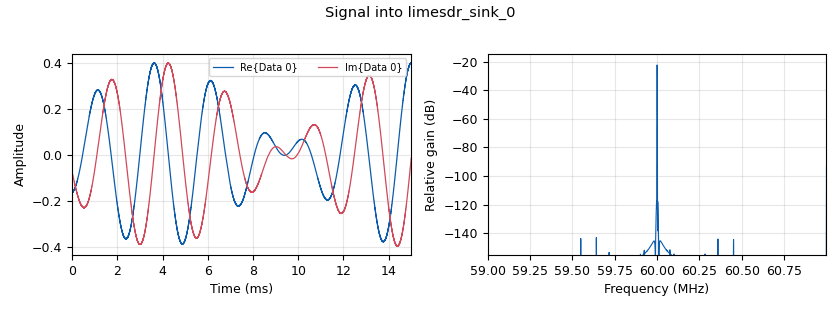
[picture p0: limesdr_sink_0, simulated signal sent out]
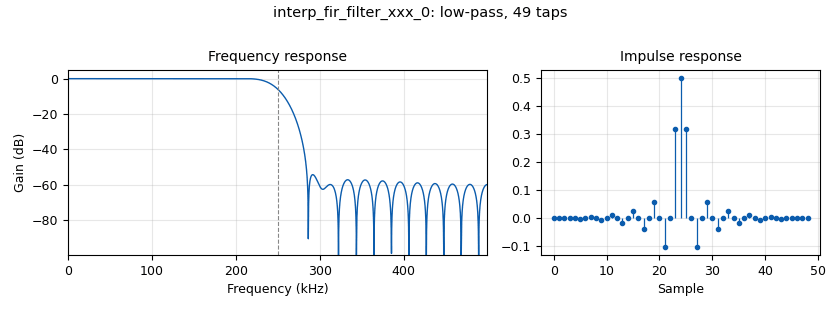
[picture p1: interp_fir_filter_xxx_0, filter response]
<?xml version='1.0' encoding='utf-8'?>
<?grc format='1' created='3.7.12'?>
<flow_graph>
<block>
<key>options</key>
<param><key>id</key><value>tx_lime</value></param>
<param><key>category</key><value>Custom</value></param>
<param><key>generate_options</key><value>wx_gui</value></param>
</block>
<block>
<key>variable_slider</key>
<param><key>id</key><value>bb_gain_slider</value></param>
<param><key>converver</key><value>int_converter</value></param>
<param><key>value</key><value>20</value></param>
<param><key>label</key><value>BB Gain</value></param>
<param><key>max</key><value>100</value></param>
<param><key>min</key><value>0</value></param>
<param><key>num_steps</key><value>100</value></param>
<param><key>style</key><value>wx.SL_HORIZONTAL</value></param>
</block>
<block>
<key>variable</key>
<param><key>id</key><value>center_freq</value></param>
<param><key>value</key><value>60e6</value></param>
</block>
<block>
<key>variable_slider</key>
<param><key>id</key><value>if_gain_slider</value></param>
<param><key>converver</key><value>int_converter</value></param>
<param><key>value</key><value>20</value></param>
<param><key>label</key><value>IF Gain</value></param>
<param><key>max</key><value>100</value></param>
<param><key>min</key><value>0</value></param>
<param><key>num_steps</key><value>100</value></param>
<param><key>style</key><value>wx.SL_HORIZONTAL</value></param>
</block>
<block>
<key>variable</key>
<param><key>id</key><value>interp_rate</value></param>
<param><key>value</key><value>2</value></param>
</block>
<block>
<key>variable_slider</key>
<param><key>id</key><value>rf_gain_slider</value></param>
<param><key>converver</key><value>int_converter</value></param>
<param><key>value</key><value>10</value></param>
<param><key>label</key><value>RF Gain</value></param>
<param><key>max</key><value>100</value></param>
<param><key>min</key><value>0</value></param>
<param><key>num_steps</key><value>100</value></param>
<param><key>style</key><value>wx.SL_HORIZONTAL</value></param>
</block>
<block>
<key>variable</key>
<param><key>id</key><value>samp_rate</value></param>
<param><key>value</key><value>1e6</value></param>
</block>
<block>
<key>variable_low_pass_filter_taps</key>
<param><key>id</key><value>variable_low_pass_filter_taps_0</value></param>
<param><key>cutoff_freq</key><value>samp_rate/4</value></param>
<param><key>gain</key><value>1.0</value></param>
<param><key>samp_rate</key><value>samp_rate</value></param>
<param><key>width</key><value>samp_rate/20</value></param>
<param><key>win</key><value>firdes.WIN_HAMMING</value></param>
</block>
<block>
<key>analog_sig_source_x</key>
<param><key>id</key><value>analog_sig_source_x_0</value></param>
<param><key>amp</key><value>.4</value></param>
<param><key>freq</key><value>350</value></param>
<param><key>offset</key><value>0</value></param>
<param><key>type</key><value>complex</value></param>
<param><key>samp_rate</key><value>samp_rate</value></param>
<param><key>waveform</key><value>analog.GR_COS_WAVE</value></param>
</block>
<block>
<key>analog_sig_source_x</key>
<param><key>id</key><value>analog_sig_source_x_1</value></param>
<param><key>amp</key><value>.4</value></param>
<param><key>freq</key><value>440</value></param>
<param><key>offset</key><value>0</value></param>
<param><key>type</key><value>complex</value></param>
<param><key>samp_rate</key><value>samp_rate</value></param>
<param><key>waveform</key><value>analog.GR_COS_WAVE</value></param>
</block>
<block>
<key>blocks_add_xx</key>
<param><key>id</key><value>blocks_add_xx_0</value></param>
<param><key>type</key><value>complex</value></param>
</block>
<block>
<key>interp_fir_filter_xxx</key>
<param><key>id</key><value>interp_fir_filter_xxx_0</value></param>
<param><key>interp</key><value>interp_rate</value></param>
<param><key>taps</key><value>variable_low_pass_filter_taps_0</value></param>
<param><key>type</key><value>ccc</value></param>
</block>
<block>
<key>limesdr_sink</key>
<param><key>id</key><value>limesdr_sink_0</value></param>
<param><key>channel</key><value>0</value></param>
<param><key>analog_filter_ch0</key><value>0</value></param>
<param><key>calibr_bandw_ch0</key><value>5e6</value></param>
<param><key>calibration_ch0</key><value>1</value></param>
<param><key>digital_bandw_ch0</key><value>0</value></param>
<param><key>digital_filter_ch0</key><value>0</value></param>
<param><key>gain_dB_ch0</key><value>60</value></param>
<param><key>pa_path_ch0</key><value>1</value></param>
<param><key>pa_path_mini</key><value>1</value></param>
<param><key>analog_bandw_ch1</key><value>10e6</value></param>
<param><key>analog_filter_ch1</key><value>0</value></param>
<param><key>calibr_bandw_ch1</key><value>10e6</value></param>
<param><key>calibration_ch1</key><value>0</value></param>
<param><key>digital_bandw_ch1</key><value>0</value></param>
<param><key>digital_filter_ch1</key><value>0</value></param>
<param><key>gain_dB_ch1</key><value>60</value></param>
<param><key>pa_path_ch1</key><value>1</value></param>
<param><key>rf_freq</key><value>center_freq</value></param>
<param><key>chip_mode</key><value>1</value></param>
<param><key>device_number</key><value>0</value></param>
<param><key>device_type</key><value>2</value></param>
<param><key>filename</key><value>/home/pi/hedwig/src/sdr/tx_60MHz.ini</value></param>
<param><key>file_switch</key><value>1</value></param>
<param><key>oversample</key><value>0</value></param>
<param><key>samp_rate</key><value>samp_rate*interp_rate</value></param>
</block>
<block>
<key>osmosdr_sink</key>
<param><key>id</key><value>osmosdr_sink_0</value></param>
<param><key>ant0</key><value>BAND1</value></param>
<param><key>bb_gain0</key><value>bb_gain_slider</value></param>
<param><key>freq0</key><value>center_freq</value></param>
<param><key>if_gain0</key><value>if_gain_slider</value></param>
<param><key>gain0</key><value>rf_gain_slider</value></param>
<param><key>args</key><value>driver=lime,soapy=0</value></param>
<param><key>_enabled</key><value>0</value></param>
<param><key>type</key><value>fc32</value></param>
<param><key>sample_rate</key><value>samp_rate*interp_rate</value></param>
<param><key>sync</key><value></value></param>
</block>
<block>
<key>uhd_usrp_sink</key>
<param><key>id</key><value>uhd_usrp_sink_0</value></param>
<param><key>ant0</key><value>TX/RX</value></param>
<param><key>center_freq0</key><value>center_freq</value></param>
<param><key>norm_gain0</key><value>False</value></param>
<param><key>gain0</key><value>0</value></param>
<param><key>clock_rate</key><value>0.0</value></param>
<param><key>dev_args</key><value>""</value></param>
<param><key>_enabled</key><value>0</value></param>
<param><key>type</key><value>fc32</value></param>
<param><key>samp_rate</key><value>samp_rate*interp_rate</value></param>
<param><key>hide_cmd_port</key><value>False</value></param>
<param><key>hide_lo_controls</key><value>True</value></param>
<param><key>sync</key><value></value></param>
<param><key>len_tag_name</key><value></value></param>
</block>
<block>
<key>wxgui_fftsink2</key>
<param><key>id</key><value>wxgui_fftsink2_0</value></param>
<param><key>avg_alpha</key><value>0</value></param>
<param><key>average</key><value>False</value></param>
<param><key>baseband_freq</key><value>0</value></param>
<param><key>_enabled</key><value>0</value></param>
<param><key>fft_size</key><value>1024</value></param>
<param><key>freqvar</key><value>None</value></param>
<param><key>peak_hold</key><value>False</value></param>
<param><key>ref_level</key><value>0</value></param>
<param><key>ref_scale</key><value>2.0</value></param>
<param><key>fft_rate</key><value>15</value></param>
<param><key>samp_rate</key><value>samp_rate*interp_rate</value></param>
<param><key>title</key><value>FFT Plot</value></param>
<param><key>type</key><value>complex</value></param>
<param><key>win</key><value>None</value></param>
<param><key>y_divs</key><value>10</value></param>
<param><key>y_per_div</key><value>10</value></param>
</block>
<connection><source_block_id>analog_sig_source_x_0</source_block_id><sink_block_id>blocks_add_xx_0</sink_block_id><source_key>0</source_key><sink_key>0</sink_key></connection>
<connection><source_block_id>analog_sig_source_x_1</source_block_id><sink_block_id>blocks_add_xx_0</sink_block_id><source_key>0</source_key><sink_key>1</sink_key></connection>
<connection><source_block_id>blocks_add_xx_0</source_block_id><sink_block_id>interp_fir_filter_xxx_0</sink_block_id><source_key>0</source_key><sink_key>0</sink_key></connection>
<connection><source_block_id>interp_fir_filter_xxx_0</source_block_id><sink_block_id>limesdr_sink_0</sink_block_id><source_key>0</source_key><sink_key>0</sink_key></connection>
<connection><source_block_id>interp_fir_filter_xxx_0</source_block_id><sink_block_id>osmosdr_sink_0</sink_block_id><source_key>0</source_key><sink_key>0</sink_key></connection>
<connection><source_block_id>interp_fir_filter_xxx_0</source_block_id><sink_block_id>uhd_usrp_sink_0</sink_block_id><source_key>0</source_key><sink_key>0</sink_key></connection>
<connection><source_block_id>interp_fir_filter_xxx_0</source_block_id><sink_block_id>wxgui_fftsink2_0</sink_block_id><source_key>0</source_key><sink_key>0</sink_key></connection>
</flow_graph>
